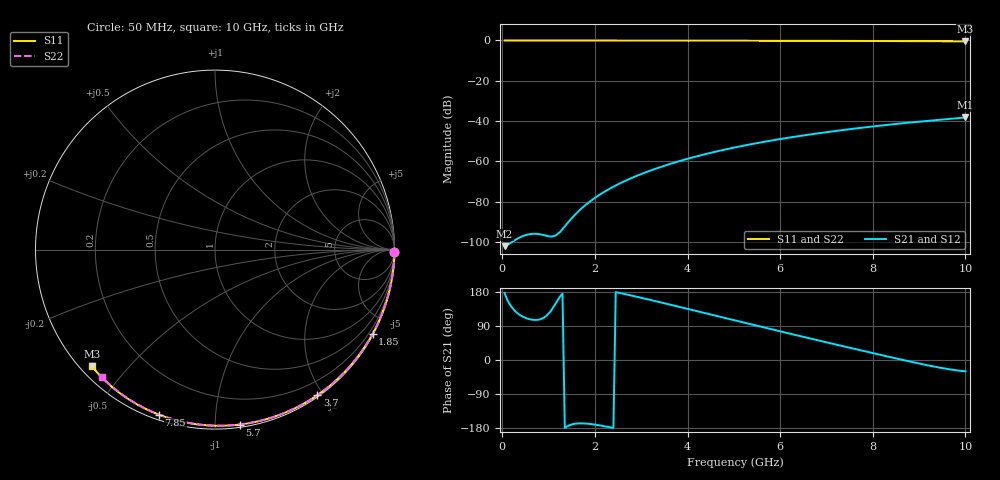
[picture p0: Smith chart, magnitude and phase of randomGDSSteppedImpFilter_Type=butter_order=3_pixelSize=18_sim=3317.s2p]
! freq	dB(S11)	phase(S11)	dB(S12)	phase(S12)
!  dB(S21)	phase(S21)	dB(S22)	phase(S22)
!S-par simulation data
#  GHz  S  DB  R 50
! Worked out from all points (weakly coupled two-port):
!   200 points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, 50 MHz to 10 GHz, reference 50 ohm
!   highest |S21| = -38.19 dB at 10 GHz (marker M1); lowest = -102.0 dB at 50 MHz (marker M2)
!   lowest |S11| = -0.5 dB at 10 GHz (marker M3), VSWR 34.81, Z = 1.67 - j20 ohm
!   |S11| at or under -10 dB: nowhere
!   |S22| runs from -0.4 to 0.0 dB; largest |S21 - S12| = 0
!   S11 on the Smith chart (normalised r, x): 50 MHz: open; 1.85 GHz: 0.03, -3.99; 3.7 GHz: 0.02, -1.92; 5.7 GHz: 0.02, -1.15; 7.85 GHz: 0.02, -0.72; 10 GHz: 0.03, -0.40
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0.05  -0.00 -0.8  -102.01 176.9  -102.01 176.9  -0.00 -0.8
0.45  -0.00 -6.9  -96.95 113.9  -96.95 113.9  -0.01 -6.8
0.9  -0.02 -13.8  -96.55 112.0  -96.55 112.0  -0.02 -13.6
1.75  -0.03 -26.6  -82.49 -167.4  -82.49 -167.4  -0.03 -26.2
1.85  -0.04 -28.1  -80.60 -168.2  -80.60 -168.2  -0.04 -27.7
1.9  -0.04 -28.9  -79.71 -168.9  -79.71 -168.9  -0.04 -28.4
2.05  -0.04 -31.1  -77.27 -171.4  -77.27 -171.4  -0.04 -30.6
2.2  -0.04 -33.3  -75.10 -174.6  -75.10 -174.6  -0.04 -32.8
2.55  -0.05 -38.5  -70.75 176.6  -70.75 176.6  -0.05 -37.8
2.95  -0.06 -44.3  -66.69 165.6  -66.69 165.6  -0.06 -43.6
3.4  -0.07 -50.7  -62.89 152.7  -62.89 152.7  -0.07 -49.9
3.7  -0.07 -54.9  -60.68 143.9  -60.68 143.9  -0.07 -54.1
4.35  -0.09 -64.0  -56.57 124.7  -56.57 124.7  -0.09 -62.9
5.05  -0.11 -73.4  -52.91 103.8  -52.91 103.8  -0.11 -72.2
5.7  -0.14 -81.9  -50.07 84.5  -50.07 84.5  -0.13 -80.6
6.7  -0.18 -94.6  -46.44 55.3  -46.44 55.3  -0.18 -93.1
7.25  -0.21 -101.5  -44.73 39.5  -44.73 39.5  -0.21 -99.7
7.85  -0.25 -108.8  -43.04 22.4  -43.04 22.4  -0.25 -106.8
8.35  -0.29 -114.9  -41.77 8.4  -41.77 8.4  -0.29 -112.7
9.3  -0.38 -126.6  -39.64 -16.7  -39.64 -16.7  -0.37 -123.5
9.7  -0.44 -131.9  -38.82 -25.3  -38.82 -25.3  -0.41 -128.1
10  -0.50 -136.4  -38.19 -29.9  -38.19 -29.9  -0.45 -131.4
